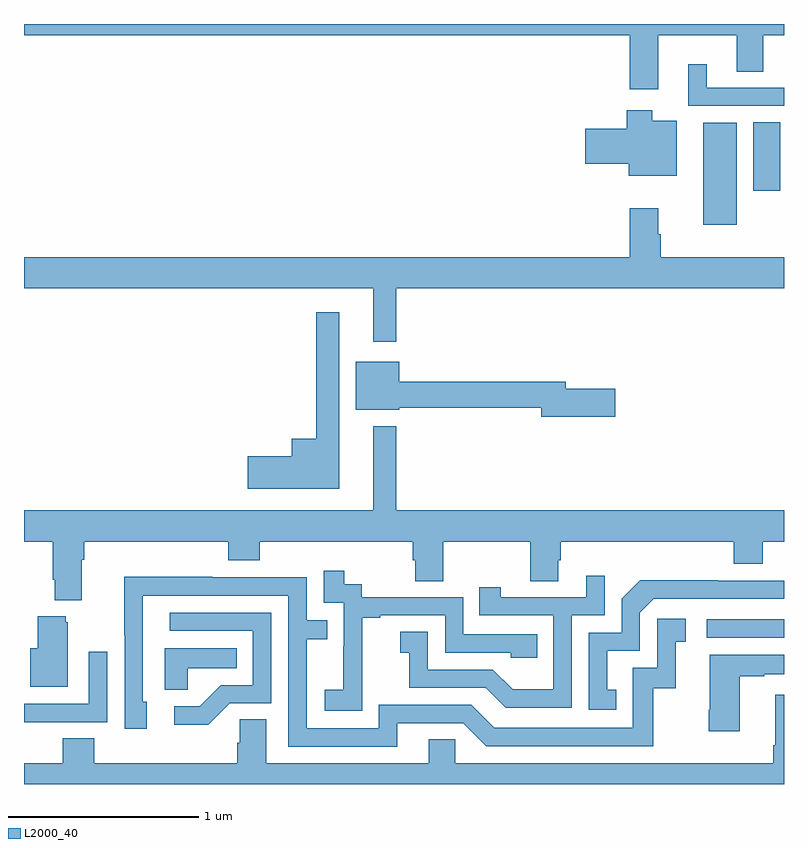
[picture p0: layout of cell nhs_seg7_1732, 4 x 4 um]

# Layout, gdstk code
import gdstk
lib = gdstk.Library(unit=1e-6, precision=1e-09)
def R(c, l, rs):  # rectangles x0, y0, x1, y1
    for r in rs: c.add(gdstk.rectangle(r[:2], r[2:], *l))
def P(c, l, *ps):  # polygons
    for p in ps: c.add(gdstk.Polygon(p, *l))
L2000_40 = (2000, 40)

nhs_seg7_1732 = lib.new_cell('nhs_seg7_1732')
R(nhs_seg7_1732, L2000_40, [(232.593,1006.77,233,1006.866), (232.574,1008.944,232.75,1009.48), (232.838,1009.122,232.981,1009.484)])
P(nhs_seg7_1732, L2000_40, [(232.339,1009.94),(232.751,1009.94),(232.751,1009.75),(232.891,1009.75),(232.891,1009.94),(233,1009.94),(233,1010),(229,1010),(229,1009.94),(232.187,1009.94),(232.187,1009.656),(232.339,1009.656)],
  [(233,1009.665),(232.594,1009.665),(232.594,1009.789),(232.496,1009.789),(232.496,1009.569),(233,1009.569)],
  [(232.435,1009.492),(232.306,1009.492),(232.306,1009.546),(232.172,1009.546),(232.172,1009.448),(231.954,1009.448),(231.954,1009.265),(232.184,1009.265),(232.184,1009.202),(232.435,1009.202)],
  [(230.959,1008.608),(233,1008.608),(233,1008.772),(232.352,1008.772),(232.352,1008.893),(232.339,1008.893),(232.339,1009.03),(232.187,1009.03),(232.187,1008.772),(229,1008.772),(229,1008.608),(230.837,1008.608),(230.837,1008.327),(230.959,1008.327)],
  [(230.659,1008.484),(230.538,1008.484),(230.538,1007.818),(230.408,1007.818),(230.408,1007.726),(230.178,1007.726),(230.178,1007.555),(230.659,1007.555)],
  [(232.111,1008.08),(231.85,1008.08),(231.85,1008.116),(230.974,1008.116),(230.974,1008.223),(230.747,1008.223),(230.747,1007.969),(230.974,1007.969),(230.974,1007.98),(231.722,1007.98),(231.722,1007.933),(232.111,1007.933)],
  [(229.303,1007.18),(229.316,1007.18),(229.316,1007.276),(230.075,1007.276),(230.075,1007.177),(230.24,1007.177),(230.24,1007.276),(231.047,1007.276),(231.047,1007.178),(231.059,1007.178),(231.059,1007.068),(231.207,1007.068),(231.207,1007.276),(231.664,1007.276),(231.664,1007.068),(231.811,1007.068),(231.811,1007.178),(231.824,1007.178),(231.824,1007.276),(232.736,1007.276),(232.736,1007.159),(232.888,1007.159),(232.888,1007.276),(233,1007.276),(233,1007.44),(230.959,1007.44),(230.959,1007.884),(230.837,1007.884),(230.837,1007.44),(229,1007.44),(229,1007.276),(229.151,1007.276),(229.151,1007.074),(229.163,1007.074),(229.163,1006.967),(229.303,1006.967)],
  [(230.781,1006.591),(230.78,1006.591),(230.78,1006.875),(230.875,1006.875),(230.875,1006.887),(231.216,1006.887),(231.216,1006.692),(231.561,1006.692),(231.561,1006.665),(231.701,1006.665),(231.701,1006.788),(231.312,1006.788),(231.312,1006.983),(230.778,1006.983),(230.778,1007.052),(230.686,1007.052),(230.686,1007.122),(230.577,1007.122),(230.577,1006.953),(230.682,1006.953),(230.682,1006.724),(230.681,1006.724),(230.681,1006.495),(230.583,1006.495),(230.583,1006.385),(230.781,1006.385)],
  [(231.882,1006.887),(232.056,1006.887),(232.056,1007.095),(231.959,1007.095),(231.959,1006.983),(231.508,1006.983),(231.508,1007.035),(231.397,1007.035),(231.397,1006.887),(231.786,1006.887),(231.786,1006.498),(231.572,1006.498),(231.468,1006.602),(231.126,1006.602),(231.126,1006.801),(230.979,1006.801),(230.979,1006.691),(231.028,1006.691),(231.028,1006.506),(231.431,1006.506),(231.536,1006.401),(231.882,1006.401)],
  [(230.965,1006.32),(231.312,1006.32),(231.432,1006.2),(232.312,1006.2),(232.312,1006.503),(232.43,1006.503),(232.43,1006.749),(232.483,1006.749),(232.483,1006.87),(232.332,1006.87),(232.332,1006.611),(232.203,1006.611),(232.203,1006.296),(231.474,1006.296),(231.354,1006.416),(230.868,1006.416),(230.868,1006.293),(230.487,1006.293),(230.487,1006.762),(230.597,1006.762),(230.597,1006.863),(230.487,1006.863),(230.487,1007.088),(229.991,1007.088),(229.991,1007.09),(229.528,1007.09),(229.528,1006.783),(229.53,1006.783),(229.53,1006.29),(229.645,1006.29),(229.645,1006.434),(229.626,1006.434),(229.626,1006.992),(230.391,1006.992),(230.391,1006.197),(230.965,1006.197)],
  [(232.118,1006.497),(232.069,1006.497),(232.069,1006.701),(232.242,1006.701),(232.242,1006.902),(232.314,1006.974),(233,1006.974),(233,1007.07),(232.652,1007.07),(232.652,1007.072),(232.244,1007.072),(232.146,1006.974),(232.146,1006.797),(231.972,1006.797),(231.972,1006.392),(232.118,1006.392)],
  [(230.082,1006.425),(230.301,1006.425),(230.301,1006.902),(229.767,1006.902),(229.767,1006.806),(230.205,1006.806),(230.205,1006.521),(230.036,1006.521),(229.925,1006.41),(229.791,1006.41),(229.791,1006.313),(229.969,1006.313)],
  [(229.231,1006.851),(229.22,1006.851),(229.22,1006.882),(229.073,1006.882),(229.073,1006.714),(229.034,1006.714),(229.034,1006.511),(229.231,1006.511)],
  [(229.863,1006.61),(230.12,1006.61),(230.12,1006.714),(229.742,1006.714),(229.742,1006.495),(229.863,1006.495)],
  [(229.121,1006.326),(229.437,1006.326),(229.437,1006.696),(229.341,1006.696),(229.341,1006.422),(229,1006.422),(229,1006.325),(229.121,1006.325)],
  [(232.768,1006.567),(232.895,1006.567),(232.895,1006.577),(233,1006.577),(233,1006.681),(232.61,1006.681),(232.61,1006.39),(232.603,1006.39),(232.603,1006.278),(232.768,1006.278)],
  [(233,1006.471),(232.955,1006.471),(232.955,1006.204),(232.943,1006.204),(232.943,1006.108),(231.27,1006.108),(231.27,1006.235),(231.131,1006.235),(231.131,1006.108),(230.275,1006.108),(230.275,1006.34),(230.136,1006.34),(230.136,1006.217),(230.123,1006.217),(230.123,1006.108),(229.37,1006.108),(229.37,1006.241),(229.205,1006.241),(229.205,1006.108),(229,1006.108),(229,1006),(233,1006)])

lib.write_gds('nhs_seg7_1732.gds')
